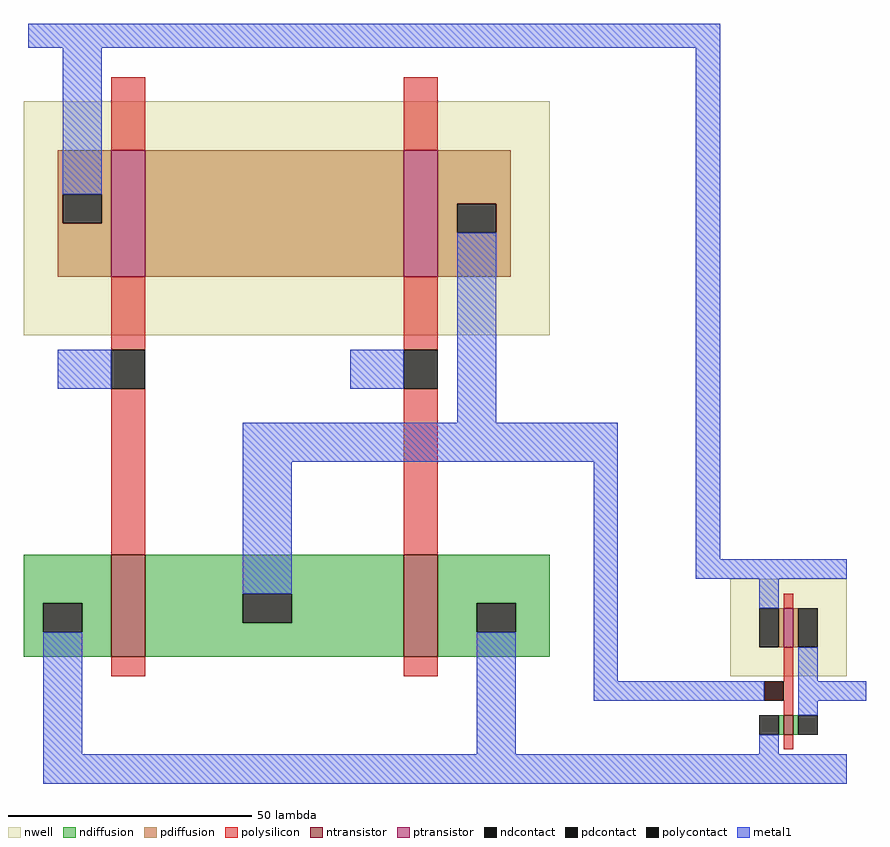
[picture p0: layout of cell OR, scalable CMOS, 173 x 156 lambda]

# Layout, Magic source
magic
tech scmos
<< nwell >>
rect -25 -47 83 1
<< ntransistor >>
rect -7 -113 0 -92
rect 53 -113 60 -92
<< ptransistor >>
rect -7 -35 0 -9
rect 53 -35 60 -9
<< ndiffusion >>
rect -25 -102 -7 -92
rect -25 -108 -21 -102
rect -13 -108 -7 -102
rect -25 -113 -7 -108
rect 0 -100 53 -92
rect 0 -106 20 -100
rect 30 -106 53 -100
rect 0 -113 53 -106
rect 60 -102 83 -92
rect 60 -108 68 -102
rect 76 -108 83 -102
rect 60 -113 83 -108
<< pdiffusion >>
rect -18 -18 -7 -9
rect -18 -24 -17 -18
rect -9 -24 -7 -18
rect -18 -35 -7 -24
rect 0 -35 53 -9
rect 60 -20 75 -9
rect 60 -26 64 -20
rect 72 -26 75 -20
rect 60 -35 75 -26
<< ndcontact >>
rect -21 -108 -13 -102
rect 20 -106 30 -100
rect 68 -108 76 -102
<< pdcontact >>
rect -17 -24 -9 -18
rect 64 -26 72 -20
<< polysilicon >>
rect -7 -9 0 6
rect 53 -9 60 6
rect -7 -50 0 -35
rect -7 -92 0 -58
rect 53 -50 60 -35
rect 53 -92 60 -58
rect -7 -117 0 -113
rect 53 -117 60 -113
rect 127 -122 131 -118
<< polycontact >>
rect -7 -58 0 -50
rect 53 -58 60 -50
<< metal1 >>
rect -24 12 118 17
rect -17 -18 -9 12
rect -18 -58 -7 -50
rect 42 -58 53 -50
rect 64 -65 72 -26
rect 20 -73 97 -65
rect 20 -100 30 -73
rect -21 -133 -13 -108
rect 68 -133 76 -108
rect 92 -118 97 -73
rect 113 -93 118 12
rect 113 -97 122 -93
rect 92 -122 116 -118
rect -21 -137 122 -133
rect -21 -139 144 -137
use NOTNOT  NOTNOT_0
transform 1 0 120 0 1 -117
box -4 -20 28 24
<< end >>

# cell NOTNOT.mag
magic
tech scmos
<< nwell >>
rect 0 0 24 20
<< ntransistor >>
rect 11 -12 13 -8
<< ptransistor >>
rect 11 6 13 14
<< ndiffusion >>
rect 10 -12 11 -8
rect 13 -12 14 -8
<< pdiffusion >>
rect 10 6 11 14
rect 13 6 14 14
<< ndcontact >>
rect 6 -12 10 -8
rect 14 -12 18 -8
<< pdcontact >>
rect 6 6 10 14
rect 14 6 18 14
<< polysilicon >>
rect 11 14 13 17
rect 11 -8 13 6
rect 11 -15 13 -12
<< polycontact >>
rect 7 -5 11 -1
<< metal1 >>
rect 0 20 24 24
rect 6 14 10 20
rect 14 -1 18 6
rect -4 -5 7 -1
rect 14 -5 28 -1
rect 14 -8 18 -5
rect 6 -16 10 -12
rect 0 -20 24 -16
<< labels >>
rlabel metal1 0 20 24 24 5 vdd
rlabel metal1 0 -20 24 -16 1 gnd
<< end >>
